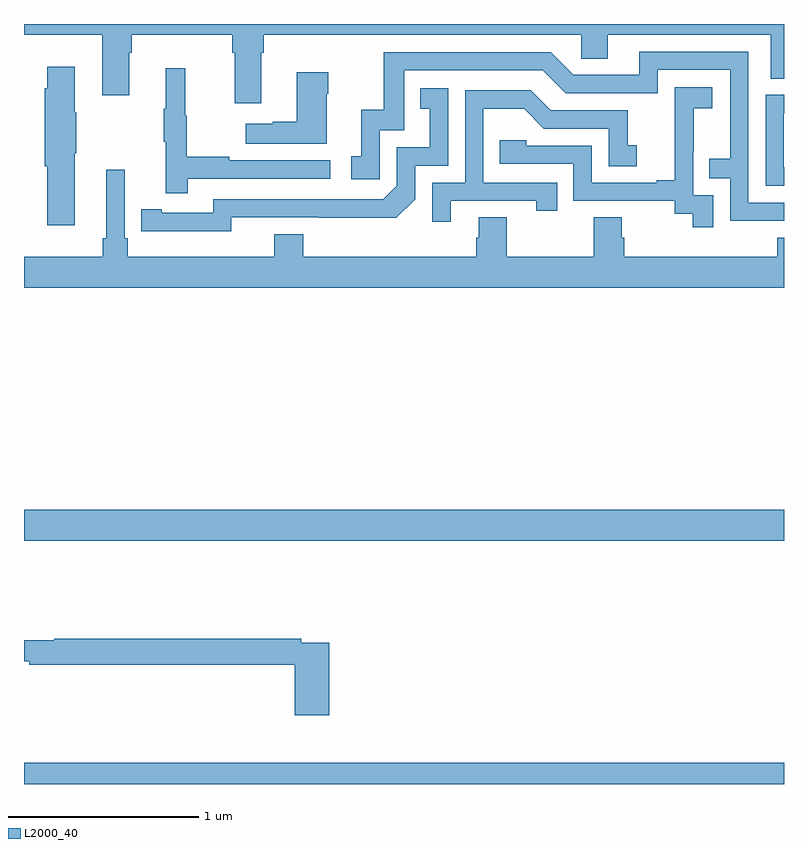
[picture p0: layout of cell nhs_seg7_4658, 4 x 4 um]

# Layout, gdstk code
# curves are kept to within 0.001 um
import gdstk
lib = gdstk.Library(unit=1e-6, precision=1e-09)
def R(c, l, rs):  # rectangles x0, y0, x1, y1
    for r in rs: c.add(gdstk.rectangle(r[:2], r[2:], *l))
def P(c, l, *ps):  # polygons
    for p in ps: c.add(gdstk.Polygon(p, *l))
L2000_40 = (2000, 40)

nhs_seg7_4658 = lib.new_cell('nhs_seg7_4658')
R(nhs_seg7_4658, L2000_40, [(405,1002,409,1002.112), (405,1003.28,409,1003.444)])
P(nhs_seg7_4658, L2000_40, [(406.249,1005.848),(406.262,1005.848),(406.262,1005.944),(407.934,1005.944),(407.934,1005.817),(408.073,1005.817),(408.073,1005.944),(408.929,1005.944),(408.929,1005.712),(409,1005.712),(409,1006),(405,1006),(405,1005.944),(405.413,1005.944),(405.413,1005.624),(405.553,1005.624),(405.553,1005.848),(405.566,1005.848),(405.566,1005.944),(406.097,1005.944),(406.097,1005.848),(406.109,1005.848),(406.109,1005.582),(406.249,1005.582)],
  [(409,1005.06),(408.813,1005.06),(408.813,1005.855),(408.239,1005.855),(408.239,1005.732),(407.892,1005.732),(407.772,1005.852),(406.893,1005.852),(406.893,1005.55),(406.775,1005.55),(406.775,1005.303),(406.722,1005.303),(406.722,1005.183),(406.872,1005.183),(406.872,1005.441),(407.001,1005.441),(407.001,1005.756),(407.73,1005.756),(407.85,1005.636),(408.336,1005.636),(408.336,1005.759),(408.717,1005.759),(408.717,1005.29),(408.607,1005.29),(408.607,1005.189),(408.717,1005.189),(408.717,1004.964),(409,1004.964)],
  [(405.268,1005.319),(405.276,1005.319),(405.276,1005.536),(405.268,1005.536),(405.268,1005.775),(405.122,1005.775),(405.122,1005.662),(405.11,1005.662),(405.11,1005.252),(405.122,1005.252),(405.122,1004.94),(405.268,1004.94)],
  [(405.863,1005.186),(406.612,1005.186),(406.612,1005.282),(406.079,1005.282),(406.079,1005.302),(405.856,1005.302),(405.856,1005.516),(405.848,1005.516),(405.848,1005.766),(405.746,1005.766),(405.746,1005.553),(405.735,1005.553),(405.735,1005.379),(405.746,1005.379),(405.746,1005.108),(405.863,1005.108)],
  [(406.594,1005.632),(406.602,1005.632),(406.602,1005.745),(406.436,1005.745),(406.436,1005.485),(406.31,1005.485),(406.31,1005.475),(406.167,1005.475),(406.167,1005.371),(406.594,1005.371)],
  [(408.627,1005.099),(408.522,1005.099),(408.522,1005.329),(408.524,1005.329),(408.524,1005.557),(408.622,1005.557),(408.622,1005.667),(408.424,1005.667),(408.424,1005.461),(408.425,1005.461),(408.425,1005.178),(408.329,1005.178),(408.329,1005.165),(407.988,1005.165),(407.988,1005.36),(407.643,1005.36),(407.643,1005.387),(407.503,1005.387),(407.503,1005.264),(407.892,1005.264),(407.892,1005.069),(408.426,1005.069),(408.426,1005.001),(408.519,1005.001),(408.519,1004.931),(408.627,1004.931)],
  [(406.092,1004.982),(406.96,1004.981),(407.058,1005.078),(407.058,1005.255),(407.232,1005.255),(407.232,1005.661),(407.086,1005.661),(407.086,1005.555),(407.135,1005.555),(407.135,1005.351),(406.962,1005.351),(406.962,1005.15),(406.89,1005.078),(405.996,1005.078),(405.996,1005.006),(405.724,1005.006),(405.724,1005.026),(405.616,1005.026),(405.616,1004.91),(406.092,1004.909)],
  [(407.245,1005.069),(407.696,1005.069),(407.696,1005.018),(407.807,1005.018),(407.807,1005.165),(407.418,1005.165),(407.418,1005.554),(407.632,1005.554),(407.736,1005.45),(408.078,1005.45),(408.078,1005.252),(408.226,1005.252),(408.226,1005.361),(408.177,1005.361),(408.177,1005.546),(407.773,1005.546),(407.668,1005.651),(407.322,1005.651),(407.322,1005.165),(407.148,1005.165),(407.148,1004.958),(407.245,1004.958)],
  [(409,1005.246),(408.999,1005.246),(408.999,1005.531),(409,1005.531),(409,1005.627),(408.903,1005.627),(408.903,1005.15),(409,1005.15)],
  [(409,1004.875),(408.965,1004.875),(408.965,1004.776),(408.158,1004.776),(408.158,1004.874),(408.145,1004.874),(408.145,1004.984),(407.998,1004.984),(407.998,1004.776),(407.541,1004.776),(407.541,1004.984),(407.393,1004.984),(407.393,1004.874),(407.381,1004.874),(407.381,1004.776),(406.469,1004.776),(406.469,1004.893),(406.316,1004.893),(406.316,1004.776),(405.545,1004.776),(405.545,1004.872),(405.531,1004.872),(405.531,1005.232),(405.434,1005.232),(405.434,1004.872),(405.415,1004.872),(405.415,1004.776),(405,1004.776),(405,1004.612),(409,1004.612)],
  [(406.607,1002.744),(406.46,1002.744),(406.46,1002.764),(405.16,1002.764),(405.16,1002.757),(405,1002.757),(405,1002.647),(405.028,1002.647),(405.028,1002.628),(406.424,1002.628),(406.424,1002.363),(406.607,1002.363)])

lib.write_gds('nhs_seg7_4658.gds')
